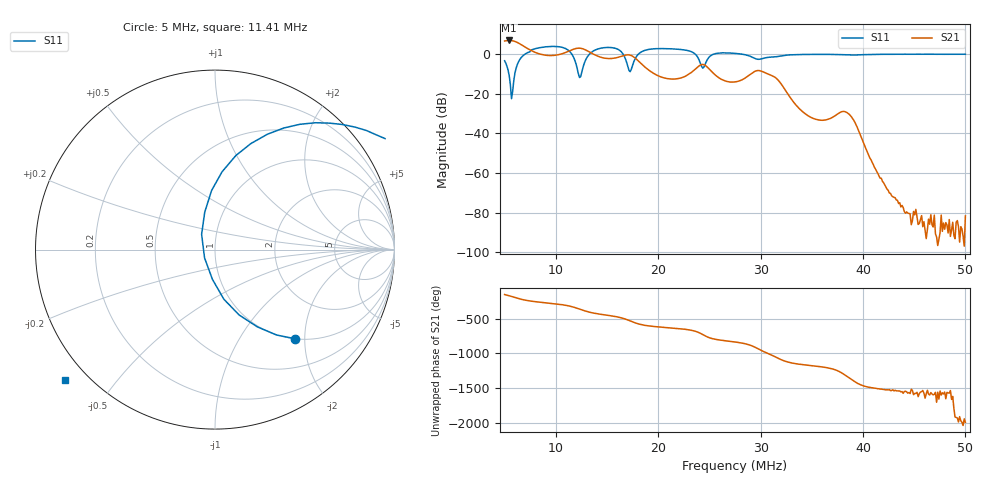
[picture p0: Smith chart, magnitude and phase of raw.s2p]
! S11/S21 only; reverse parameters are placeholders. Device calibration unverified.
! NanoVNA F V2 profile | COM3 | 2026-09-08T12:17:39.9410808-04:00 | device calibration unverified
# HZ S RI R 50
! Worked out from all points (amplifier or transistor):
!   401 points, 5 MHz to 50 MHz, reference 50 ohm
!   highest |S21| = 6.8 dB at 5.45 MHz (marker M1)
!   |S21| within 3 dB of that: start of sweep to 6.899 MHz
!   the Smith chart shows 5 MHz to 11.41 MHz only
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5000000  0.4484 -0.4973  -1.899 -0.9185  0 0  0 0
5450000  0.0497 -0.2769  -2.155 -0.3002  0 0  0 0
6350000  0.2006 0.5912  -1.59 0.9941  0 0  0 0
7250000  0.8445 0.6633  -0.6576 1.187  0 0  0 0
7812500  0.5943 -1.163  -0.3286 1.09  0 0  0 0
9837500  -0.1281 -1.532  0.246 0.8825  0 0  0 0
1.1525e7  -0.829 -0.5868  1.041 0.6855  0 0  0 0
1.25375e7  0.2374 0.2493  1.32 -0.3439  0 0  0 0
1.3775e7  1.064 -0.6095  0.4324 -0.8503  0 0  0 0
1.56875e7  0.3988 -1.347  -0.224 -0.7439  0 0  0 0
1.63625e7  -0.2174 -1.127  -0.5277 -0.6825  0 0  0 0
1.715e7  -0.3632 0.1174  -0.9155 -0.2137  0 0  0 0
1.83875e7  1.116 0.1933  -0.3713 0.4063  0 0  0 0
2.0075e7  1.276 -0.4514  -0.0463 0.2704  0 0  0 0
2.4125e7  0.3143 -0.4778  0.5175 0.0716  0 0  0 0
2.48e7  0.7143 -0.0579  0.3341 -0.3202  0 0  0 0
2.75e7  0.8873 -0.5209  -0.0869 -0.1759  0 0  0 0
3.11e7  0.7224 -0.4047  0.1666 0.2279  0 0  0 0
3.50375e7  0.7039 -0.6642  -0.00318 -0.024  0 0  0 0
3.86375e7  0.5467 -0.7663  0.000643 0.0302  0 0  0 0
4.2575e7  0.441 -0.8686  5e-05 -0.000307  0 0  0 0
5e7  0.1596 -0.9647  -8.1e-05 1.6e-05  0 0  0 0
